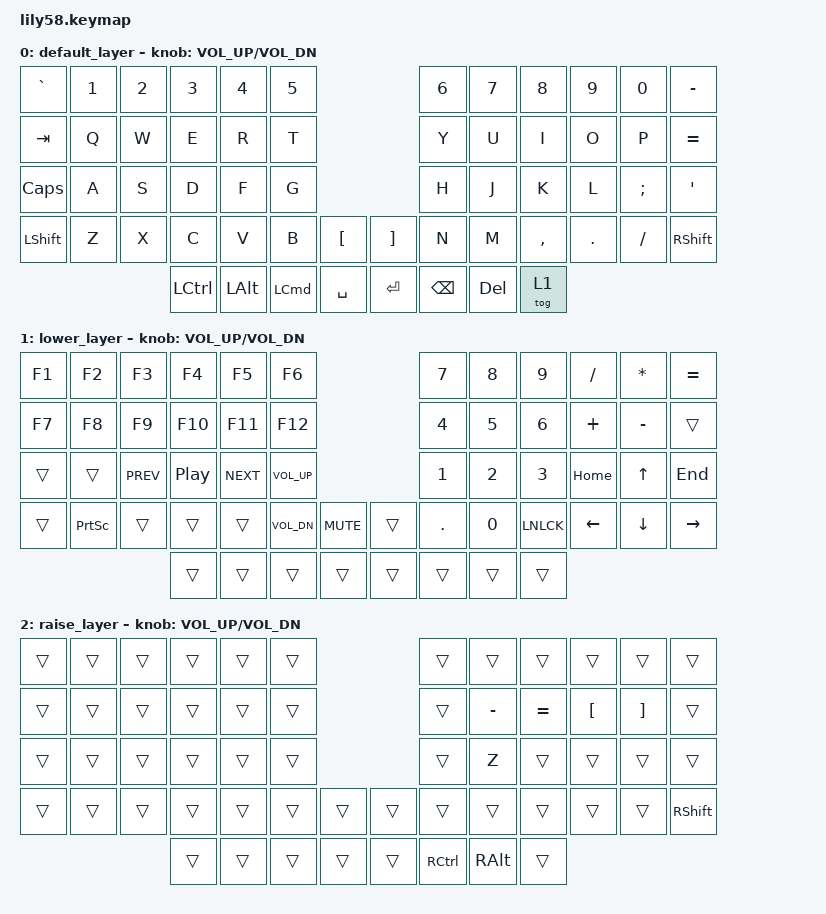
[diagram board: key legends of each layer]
/*
 * Copyright (c) 2020 The ZMK Contributors
 *
 * SPDX-License-Identifier: MIT
 */

#include <behaviors.dtsi>
#include <dt-bindings/zmk/keys.h>
#include <dt-bindings/zmk/bt.h>
#include <dt-bindings/zmk/ext_power.h>

/ {
	keymap {
		compatible = "zmk,keymap";

		default_layer {
// ------------------------------------------------------------------------------------------------------------
// |   `   |  1  |  2  |  3   |  4  |  5  |                   |  6   |  7   |  8    |  9  |  0  |  `    |
// |  TAB  |  Q  |  W  |  E   |  R  |  T  |                   |  Y   |  U   |  I    |  O  |  P  |  -    |
// |  CTRL |  A  |  S  |  D   |  F  |  G  |                   |  H   |  J   |  K    |  L  |  ;  |  '    |
// | SHIFT |  Z  |  X  |  C   |  V  |  B  |   "["  |  |  "]"  |  N   |  M   |  ,    |  .  |  /  | SHIFT |
//                     | CTRL | ALT | CMD |  SPACE |  | ENTER | BSPC |  DEL | LOWER |
			bindings = <
&kp GRAVE &kp N1 &kp N2 &kp N3    &kp N4   &kp N5                        &kp N6   &kp N7  &kp N8    &kp N9  &kp N0   &kp MINUS
&kp TAB   &kp Q  &kp W  &kp E     &kp R    &kp T                         &kp Y    &kp U   &kp I     &kp O   &kp P    &kp EQUAL
&kp CAPS  &kp A  &kp S  &kp D     &kp F    &kp G                         &kp H    &kp J   &kp K     &kp L   &kp SEMI &kp SQT
&kp LSHFT &kp Z  &kp X  &kp C     &kp V    &kp B  &kp LBKT      &kp RBKT &kp N    &kp M   &kp COMMA &kp DOT &kp FSLH &kp RSHFT
                        &kp LCTRL &kp LALT &kp LCMD  &kp SPACE  &kp RET  &kp BSPC &kp DEL &tog 1
			>;

			sensor-bindings = <&inc_dec_kp C_VOL_UP C_VOL_DN>;
		};

		lower_layer {
// ------------------------------------------------------------------------------------------------------------
// | BTCLR | BT1 | BT2 |  BT3 |  BT4 |  BT5 |                   |      |       |       |      |       |       |
// |  F1   |  F2 |  F3 |  F4  |  F5  |  F6  |                   |  F7  |  F8   |  F9   |  F10 |  F11  |  F12  |
// |   `   |  !  |  @  |  #   |  $   |  %   |                   |  ^   |  &    |  *    |  (   |   )   |   ~   |
// |       |     |     |      |      |      |        |  |       |      |  _    |  +    |  {   |   }   |  "|"  |
//                     |      |      |      |        |  |       |      |       |       |
			bindings = <
&kp F1  &kp F2    &kp F3     &kp F4   &kp F5     &kp F6                         &kp N7  &kp N8 &kp N9    &kp SLASH  &kp STAR  &kp EQUAL
&kp F7  &kp F8    &kp F9     &kp F10  &kp F11    &kp F12                        &kp N4  &kp N5 &kp N6    &kp PLUS   &kp MINUS &trans
&trans  &trans    &kp C_PREV &kp C_PP &kp C_NEXT &kp C_VOL_UP                   &kp N1  &kp N2 &kp N3    &kp HOME   &kp UP    &kp END
&trans  &kp PSCRN &trans     &trans   &trans     &kp C_VOL_DN &kp C_MUTE &trans &kp DOT &kp N0 &kp LNLCK &kp LEFT   &kp DOWN  &kp RIGHT
                             &trans   &trans     &trans       &trans     &trans &trans     &trans       &trans
			>;

			sensor-bindings = <&inc_dec_kp C_VOL_UP C_VOL_DN>;
		};

		raise_layer {
// ------------------------------------------------------------------------------------------------------------
// |       |     |     |      |      |      |                   |      |       |       |      |       |       |
// |   `   |  1  |  2  |  3   |  4   |  5   |                   |  6   |   7   |   8   |  9   |   0   |       |
// |   F1  |  F2 |  F3 |  F4  |  F5  |  F6  |                   |      |   <-  |   v   |  ^   |  ->   |       |
// |   F7  |  F8 |  F9 |  F10 |  F11 |  F12 |        |  |       |  +   |   -   |   =   |  [   |   ]   |   \   |
//                     |      |      |      |        |  |       |      |       |       |
			bindings = <
&trans &trans &trans &trans &trans &trans               &trans    &trans    &trans    &trans   &trans   &trans
&trans &trans &trans &trans &trans &trans               &trans    &kp MINUS &kp EQUAL &kp LBKT &kp RBKT &trans
&trans &trans &trans &trans &trans &trans               &trans    &kp Z     &trans    &trans   &trans   &trans
&trans &trans &trans &trans &trans &trans &trans &trans &trans    &trans    &trans    &trans   &trans   &kp RSHIFT
                     &trans &trans &trans &trans &trans &kp RCTRL &kp RALT &trans
			>;

			sensor-bindings = <&inc_dec_kp C_VOL_UP C_VOL_DN>;
		};
	};
};
